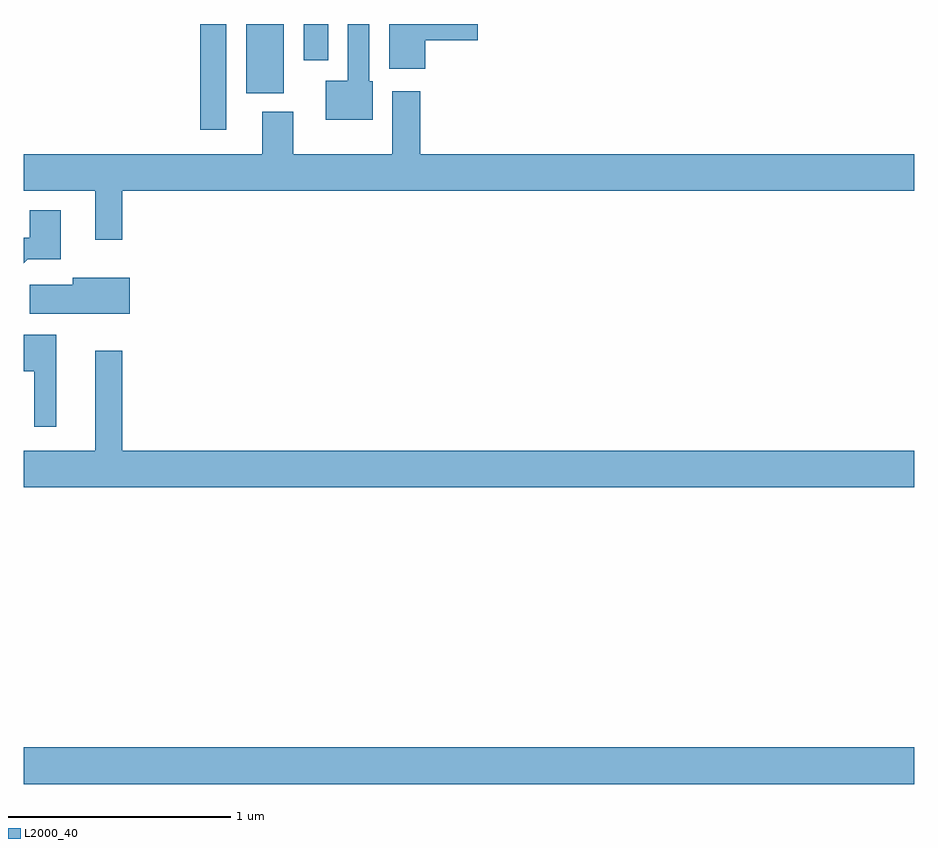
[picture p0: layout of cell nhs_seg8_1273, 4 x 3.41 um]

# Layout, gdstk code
import gdstk
lib = gdstk.Library(unit=1e-6, precision=1e-09)
def R(c, l, rs):  # rectangles x0, y0, x1, y1
    for r in rs: c.add(gdstk.rectangle(r[:2], r[2:], *l))
def P(c, l, *ps):  # polygons
    for p in ps: c.add(gdstk.Polygon(p, *l))
L2000_40 = (2000, 40)

nhs_seg8_1273 = lib.new_cell('nhs_seg8_1273')
R(nhs_seg8_1273, L2000_40, [(191,1128.488,195,1128.652), (191.794,1131.426,191.91,1131.9), (191.999,1131.59,192.169,1131.9), (192.257,1131.738,192.367,1131.9)])
P(nhs_seg8_1273, L2000_40, [(192.803,1131.827),(193.039,1131.827),(193.039,1131.9),(192.641,1131.9),(192.641,1131.699),(192.803,1131.699)],
  [(192.568,1131.642),(192.552,1131.642),(192.552,1131.9),(192.456,1131.9),(192.456,1131.646),(192.356,1131.646),(192.356,1131.47),(192.568,1131.47)],
  [(191.443,1131.152),(195,1131.152),(195,1131.316),(192.782,1131.316),(192.782,1131.598),(192.656,1131.598),(192.656,1131.316),(192.211,1131.316),(192.211,1131.505),(192.071,1131.505),(192.071,1131.316),(191,1131.316),(191,1131.152),(191.321,1131.152),(191.321,1130.931),(191.443,1130.931)],
  [(191.018,1130.843),(191.167,1130.843),(191.167,1131.064),(191.027,1131.064),(191.027,1130.941),(191,1130.941),(191,1130.825)],
  [(191.476,1130.761),(191.222,1130.761),(191.222,1130.729),(191.028,1130.729),(191.028,1130.6),(191.476,1130.6)],
  [(191.146,1130.506),(191,1130.506),(191,1130.342),(191.048,1130.342),(191.048,1130.091),(191.146,1130.091)],
  [(195,1129.984),(191.443,1129.984),(191.443,1130.434),(191.321,1130.434),(191.321,1129.984),(191,1129.984),(191,1129.82),(195,1129.82)])

lib.write_gds('nhs_seg8_1273.gds')
